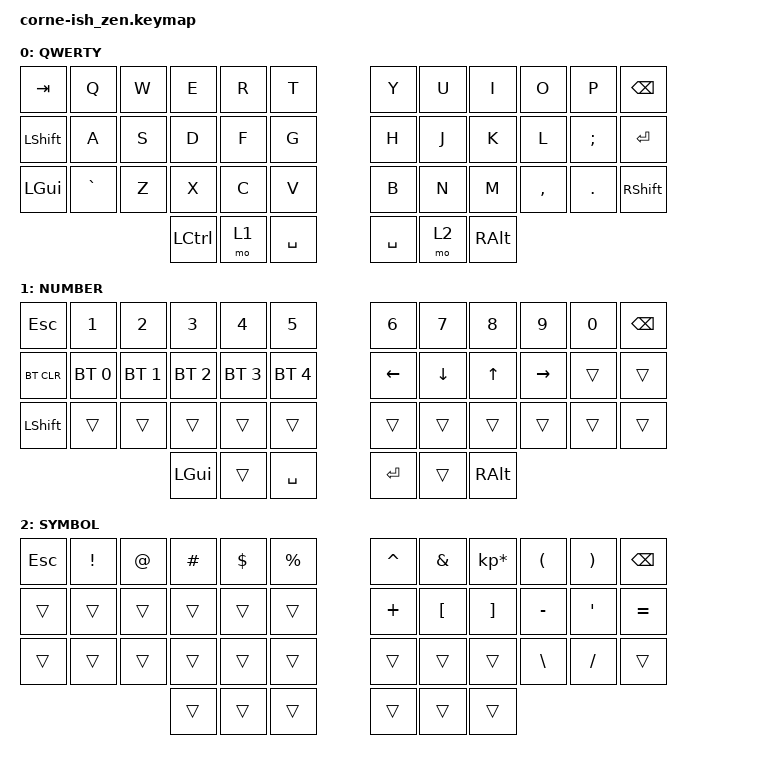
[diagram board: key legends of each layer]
/*
*
* Copyright (c) 2021 Darryl deHaan
* SPDX-License-Identifier: MIT
*
*/

#include <behaviors.dtsi>
#include <dt-bindings/zmk/keys.h>
#include <dt-bindings/zmk/bt.h>

/ {
        keymap {
                compatible = "zmk,keymap";

                default_layer {
                        label = "QWERTY";
// -----------------------------------------------------------------------------------------
// |  TAB |  Q  |  W  |  E  |  R  |  T  |   |  Y  |  U   |  I  |  O  |  P  | BKSP |
// | SHFT |  A  |  S  |  D  |  F  |  G  |   |  H  |  J   |  K  |  L  |  ;  |  ENT |
// | GUI  |  `  |  Z  |  X  |  C  |  V  |   |  B  |  N   |  M  |  ,  |  .  | SHFT |
//                    | CTRL| LWR | SPC |   | SPC | RSE  | ALT |
                        bindings = <
   &kp TAB   &kp Q &kp W &kp E &kp R &kp T   &kp Y &kp U  &kp I     &kp O   &kp P    &kp BSPC
   &kp LSHFT &kp A &kp S &kp D &kp F &kp G   &kp H &kp J  &kp K     &kp L   &kp SEMI &kp RET
  &kp LGUI &kp GRAVE &kp Z &kp X &kp C &kp V  &kp B &kp N &kp M &kp COMMA &kp DOT &kp RSHFT
                  &kp LCTRL &mo 1 &kp SPACE   &kp SPACE &mo 2 &kp RALT
                        >;
                };
                lower_layer {
                        label = "NUMBER";
// -----------------------------------------------------------------------------------------
// |  ESC |  1  |  2  |  3  |  4  |  5  |   |  6  |  7  |  8  |  9  |  0  | BKSP |
// | BTCLR| BT1 | BT2 | BT3 | BT4 | BT5 |   | LFT | DWN |  UP | RGT |     |      |
// | SHFT |     |     |     |     |     |   |     |     |     |     |     |      |
//                    | GUI |     | SPC |   | ENT |     | ALT |
                        bindings = <
   &kp ESC    &kp N1       &kp N2       &kp N3       &kp N4       &kp N5         &kp N6   &kp N7   &kp N8 &kp N9    &kp N0 &kp BSPC
   &bt BT_CLR &bt BT_SEL 0 &bt BT_SEL 1 &bt BT_SEL 2 &bt BT_SEL 3 &bt BT_SEL 4   &kp LEFT &kp DOWN &kp UP &kp RIGHT &trans &trans
   &kp LSHFT  &trans       &trans       &trans       &trans       &trans         &trans   &trans   &trans &trans    &trans &trans
                          	        &kp LGUI     &trans       &kp SPACE      &kp RET  &trans   &kp RALT
                        >;
                };

                raise_layer {
                        label = "SYMBOL";
// -----------------------------------------------------------------------------------------
// |  ESC |  !  |  @  |  #  |  $  |  %  |   |  ^  |  &  |  *  |  (  |  )  | BKSP |
// |      |     |     |     |     |     |   |  +  |  [  |  ]  |  -  |  '  |   =  |
// |      |     |     |     |     |     |   |     |     |     | "|" |  /  |      |
//                    |     |     |     |   |     |     |     |
                        bindings = <
   &kp ESC  &kp EXCL &kp AT &kp HASH &kp DLLR &kp PRCNT  &kp CARET  &kp AMPS  &kp KP_MULTIPLY &kp LPAR   &kp RPAR &kp BSPC
   &trans  &trans   &trans &trans   &trans   &trans      &kp PLUS   &kp LBKT  &kp RBKT        &kp MINUS  &kp SQT  &kp EQUAL
   &trans  &trans   &trans &trans   &trans   &trans      &trans     &trans    &trans          &kp BSLH   &kp FSLH &trans
                    	     &trans &trans   &trans      &trans     &trans    &trans
                        >;
                };      
        };
};
